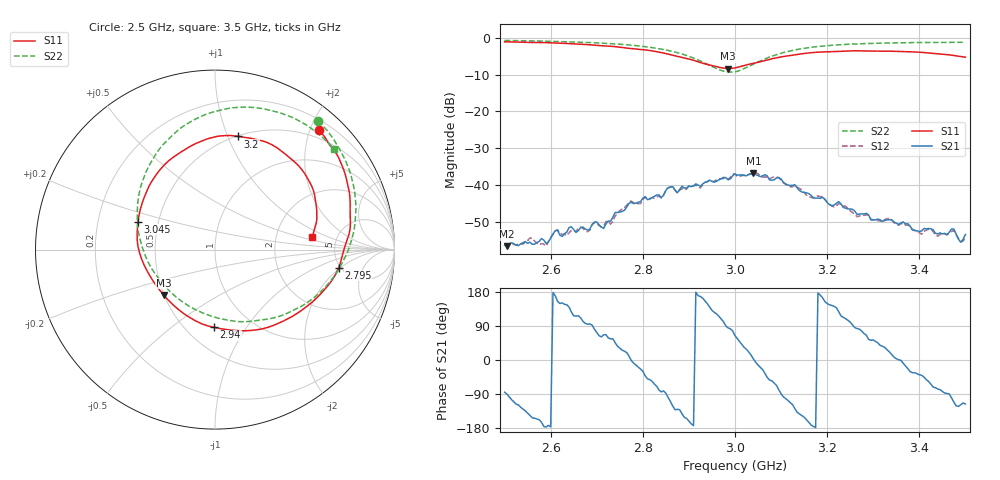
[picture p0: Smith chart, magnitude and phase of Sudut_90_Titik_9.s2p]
# Hz S RI R 50
! CMT, C1220, 16058040, 17.2.0/1
! Date: 15/08/2018 09:47:09
! Data: Format (Calibration Info)
! Freq  S11: Re/Im (F2)  S21: Re/Im (F2)  S12: Re/Im (F2)  S22: Re/Im (F2)
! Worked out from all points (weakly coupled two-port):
!   201 points, 2.5 GHz to 3.5 GHz, reference 50 ohm
!   highest |S21| = -36.87 dB at 3.04 GHz (marker M1); lowest = -56.6 dB at 2.505 GHz (marker M2)
!   lowest |S11| = -8.4 dB at 2.985 GHz (marker M3), VSWR 2.23, Z = 24.9 - j14.7 ohm
!   |S11| at or under -10 dB: nowhere
!   |S22| runs from -9.3 to -0.7 dB; largest |S21 - S12| = 0.0012
!   S11 on the Smith chart (normalised r, x): 2.5 GHz: 0.36, +2.14; 2.795 GHz: 4.83, -1.89; 2.94 GHz: 0.68, -0.72; 3.045 GHz: 0.38, +0.15; 3.2 GHz: 0.51, +1.09; 3.5 GHz: 3.26, +0.64
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2.5e9  0.5781 0.6668  0.000134 -0.0015  0.000177 -0.00158  0.5756 0.7174
2.505e9  0.5849 0.6591  -4.45e-06 -0.00147  -3.21e-05 -0.00159  0.581 0.7119
2.59e9  0.6877 0.5142  -0.00161 -9.15e-05  -0.00146 -0.000232  0.6725 0.5958
2.615e9  0.7095 0.464  -0.00218 0.00104  -0.00224 0.00103  0.697 0.5537
2.67e9  0.748 0.322  -0.000567 0.00262  -0.000352 0.00255  0.7477 0.4445
2.715e9  0.7533 0.1864  0.00102 0.00236  0.00108 0.00253  0.7762 0.3336
2.77e9  0.7185 0.000418  0.00554 0.000994  0.00579 0.00091  0.782 0.1653
2.795e9  0.6894 -0.1004  0.00543 -0.0024  0.00511 -0.00226  0.7672 0.0759
2.835e9  0.5894 -0.2458  0.00137 -0.0072  0.00156 -0.0069  0.7048 -0.0802
2.94e9  -0.00511 -0.4331  -0.00943 0.00578  -0.00955 0.00564  0.1746 -0.4017
2.985e9  -0.2861 -0.2527  0.00108 0.0117  0.000599 0.0119  -0.1788 -0.2933
3e9  -0.3569 -0.1559  0.00611 0.0128  0.00675 0.0125  -0.2784 -0.2043
3.04e9  -0.4323 0.1209  0.0143 0.000643  0.0147 0.00125  -0.4268 0.098
3.045e9  -0.429 0.1556  0.0138 -0.00146  0.0147 -0.00135  -0.4323 0.1389
3.105e9  -0.2627 0.491  -0.0014 -0.0108  -0.00165 -0.0106  -0.3253 0.539
3.17e9  0.0138 0.6312  -0.00662 -0.00055  -0.0066 -0.00113  -0.0694 0.7458
3.2e9  0.1291 0.6306  -0.00494 0.00297  -0.0049 0.00321  0.0438 0.78
3.335e9  0.4815 0.4484  0.00314 0.00123  0.00334 0.00109  0.4179 0.7413
3.405e9  0.5544 0.3071  0.0018 -0.00153  0.00158 -0.00144  0.5432 0.67
3.475e9  0.5591 0.1303  -0.000912 -0.00235  -0.000832 -0.00226  0.637 0.5892
3.49e9  0.5484 0.0922  -0.000778 -0.00147  -0.000923 -0.00143  0.6542 0.5703
3.5e9  0.5404 0.0687  -0.000934 -0.0019  -0.000962 -0.00171  0.6656 0.5578
